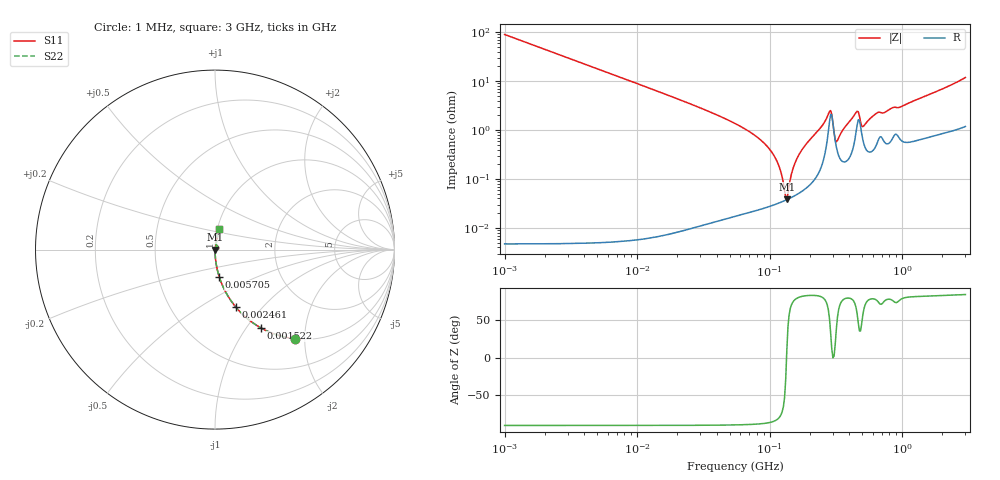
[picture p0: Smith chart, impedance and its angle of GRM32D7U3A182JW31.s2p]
!Murata Part Number: GRM32D7U3A182JW31
!These Parameters are Measured in Series Mode Connection
!Data Generated on Mar 30, 2021
!  o--ll--o
!Port1  Port2
!  o------o
!Operation Temp=25[degC], DC Bias Voltage=0[V]
!Freq. Start=1000[kHz] Stop=3[GHz] 401[Steps]
# Hz S RI R 50
!Freq.(Hz) S11(Real) S11(Imag) S21(Real) S21(Imag) S12(Real) S12(Imag) S22(Real) S22(Imag)
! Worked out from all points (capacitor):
!   401 points, 1 MHz to 3 GHz, reference 50 ohm
!   read as one part in series: C = 1.78 nF near 1.041 MHz
!   lowest |Z| = 38.4 mohm at 134.8 MHz (marker M1)
!   series resonance near 134.1 MHz, so ESL is about 790 pH
!   S11 on the Smith chart (normalised r, x): 1 MHz: 1.00, -1.78; 1.522 MHz: 1.00, -1.17; 2.461 MHz: 1.00, -0.72; 5.705 MHz: 1.00, -0.31; 3 GHz: 1.02, +0.24
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1000000  0.4433 -0.4968  0.5567 0.4968  0.5567 0.4968  0.4433 -0.4968
1522470  0.2557 -0.4362  0.7443 0.4362  0.7443 0.4362  0.2557 -0.4362
2461366  0.1162 -0.3203  0.8838 0.3203  0.8838 0.3203  0.1162 -0.3203
3823119  0.0516 -0.2212  0.9484 0.2212  0.9484 0.2212  0.0516 -0.2212
5705239  0.0238 -0.1524  0.9762 0.1524  0.9762 0.1524  0.0238 -0.1524
1.461624e7  0.00369 -0.0601  0.9963 0.0601  0.9963 0.0601  0.00369 -0.0601
5.477226e7  0.000358 -0.0136  0.9996 0.0136  0.9996 0.0136  0.000358 -0.0136
1.018679e8  0.000294 -0.00377  0.9997 0.00377  0.9997 0.00377  0.000294 -0.00377
1.171891e8  0.000325 -0.00185  0.9997 0.00185  0.9997 0.00185  0.000325 -0.00185
1.295243e8  0.00036 -0.000482  0.9996 0.000482  0.9996 0.000482  0.00036 -0.000482
1.348146e8  0.000378 6.92e-05  0.9996 -6.92e-05  0.9996 -6.92e-05  0.000378 6.92e-05
1.582265e8  0.000477 0.00234  0.9995 -0.00234  0.9995 -0.00234  0.000477 0.00234
2.094008e8  0.000898 0.00708  0.9991 -0.00708  0.9991 -0.00708  0.000898 0.00708
2.827291e8  0.0147 0.0185  0.9853 -0.0185  0.9853 -0.0185  0.0147 0.0185
2.942768e8  0.0199 0.00423  0.9801 -0.00423  0.9801 -0.00423  0.0199 0.00423
3.124888e8  0.00603 0.00195  0.994 -0.00195  0.994 -0.00195  0.00603 0.00195
3.252521e8  0.00356 0.00499  0.9964 -0.00499  0.9964 -0.00499  0.00356 0.00499
4.480278e8  0.00902 0.0206  0.991 -0.0206  0.991 -0.0206  0.00902 0.0206
5.154121e8  0.00517 0.0111  0.9948 -0.0111  0.9948 -0.0111  0.00517 0.0111
6.423554e8  0.00555 0.0213  0.9944 -0.0213  0.9944 -0.0213  0.00555 0.0213
8.005644e8  0.00605 0.0254  0.9939 -0.0254  0.9939 -0.0254  0.00605 0.0254
3e9  0.0248 0.1133  0.9752 -0.1133  0.9752 -0.1133  0.0248 0.1133
